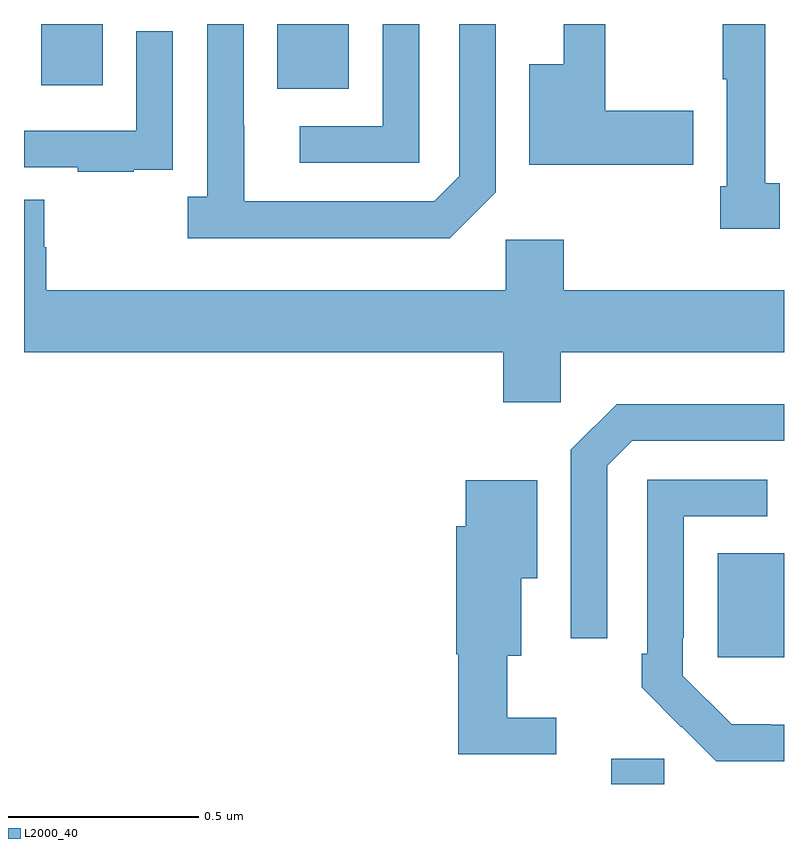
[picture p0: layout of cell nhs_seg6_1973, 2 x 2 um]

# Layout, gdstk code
import gdstk
lib = gdstk.Library(unit=1e-6, precision=1e-09)
def R(c, l, rs):  # rectangles x0, y0, x1, y1
    for r in rs: c.add(gdstk.rectangle(r[:2], r[2:], *l))
def P(c, l, *ps):  # polygons
    for p in ps: c.add(gdstk.Polygon(p, *l))
L2000_40 = (2000, 40)

nhs_seg6_1973 = lib.new_cell('nhs_seg6_1973')
R(nhs_seg6_1973, L2000_40, [(137.546,979.5,137.685,979.566), (137.825,979.833,138,980.107), (136.667,981.329,136.855,981.5), (136.046,981.339,136.207,981.5)])
P(nhs_seg6_1973, L2000_40, [(137.761,981.272),(137.53,981.272),(137.53,981.5),(137.42,981.5),(137.42,981.394),(137.33,981.394),(137.33,981.13),(137.761,981.13)],
  [(137.04,981.5),(136.944,981.5),(136.944,981.231),(136.725,981.231),(136.725,981.135),(137.04,981.135)],
  [(137.989,981.081),(137.95,981.081),(137.95,981.5),(137.839,981.5),(137.839,981.355),(137.849,981.355),(137.849,981.073),(137.832,981.073),(137.832,980.961),(137.989,980.961)],
  [(137.241,981.057),(137.241,981.5),(137.145,981.5),(137.145,981.099),(137.079,981.033),(136.579,981.033),(136.579,981.233),(136.578,981.233),(136.578,981.5),(136.482,981.5),(136.482,981.046),(136.431,981.046),(136.431,980.936),(137.12,980.936)],
  [(136.289,981.117),(136.391,981.117),(136.391,981.226),(136.392,981.226),(136.392,981.481),(136.296,981.481),(136.296,981.219),(136,981.219),(136,981.123),(136.141,981.123),(136.141,981.111),(136.289,981.111)],
  [(137.412,980.636),(138,980.636),(138,980.8),(137.42,980.8),(137.42,980.932),(137.268,980.932),(137.268,980.8),(136.058,980.8),(136.058,980.913),(136.053,980.913),(136.053,981.038),(136,981.038),(136,980.636),(137.261,980.636),(137.261,980.505),(137.412,980.505)],
  [(137.535,980.337),(137.601,980.403),(138,980.403),(138,980.5),(137.56,980.5),(137.439,980.379),(137.439,979.884),(137.535,979.884)],
  [(138,979.656),(137.965,979.656),(137.965,979.657),(137.862,979.657),(137.733,979.785),(137.733,979.885),(137.736,979.885),(137.736,980.205),(137.956,980.205),(137.956,980.301),(137.64,980.301),(137.64,979.843),(137.625,979.843),(137.625,979.755),(137.73,979.65),(137.731,979.651),(137.822,979.56),(138,979.56)],
  [(137.401,979.675),(137.272,979.675),(137.272,979.838),(137.308,979.838),(137.308,980.042),(137.35,980.042),(137.35,980.299),(137.162,980.299),(137.162,980.178),(137.138,980.178),(137.138,979.842),(137.143,979.842),(137.143,979.578),(137.401,979.578)])

lib.write_gds('nhs_seg6_1973.gds')
